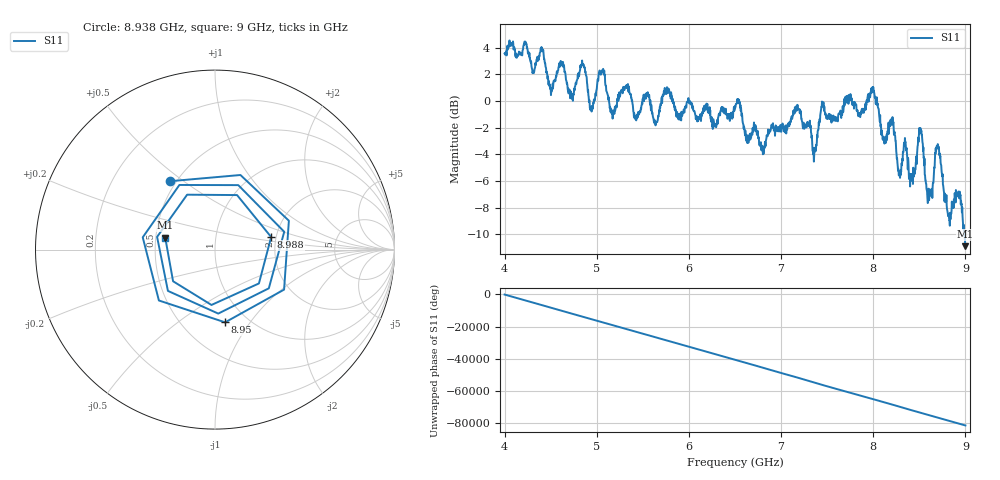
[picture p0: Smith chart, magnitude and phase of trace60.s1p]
! Created with skrf 1.8.0 (http://scikit-rf.org).
# Hz S RI R 50.0
!freq ReS11 ImS11
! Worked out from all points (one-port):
!   1601 points, 4 GHz to 9 GHz, reference 50 ohm
!   lowest |S11| = -10.9 dB at 9 GHz (marker M1), VSWR 1.80, Z = 28.1 + j4.04 ohm
!   |S11| at or under -10 dB: 8.989117 GHz to end of sweep
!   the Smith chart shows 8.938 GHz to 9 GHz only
!   S11 on the Smith chart (normalised r, x): 8.938 GHz: 0.46, +0.44; 8.95 GHz: 0.79, -0.77; 8.988 GHz: 1.88, +0.29; 9 GHz: 0.56, +0.08
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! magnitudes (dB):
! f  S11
! 4 GHz  3.6
! 4.406 GHz  4.0
! 4.5 GHz  1.0
! 4.625 GHz  2.7
! 4.728 GHz  0.4
! 4.853 GHz  2.7
! 4.941 GHz  -0.4
! 5.047 GHz  2.2
! 5.166 GHz  -1.0
! 5.25 GHz  0.6
! 5.875 GHz  -1.2
! 6.5 GHz  -0.6
! 6.797 GHz  -3.4
! 7.125 GHz  -1.1
! 7.362 GHz  -3.7
! 7.45 GHz  -0.1
! 7.75 GHz  0.4
! 7.997 GHz  0.7
! 8.112 GHz  -2.9
! 8.375 GHz  -5.1
! 8.512 GHz  -2.0
! 8.603 GHz  -7.0
! 8.697 GHz  -3.3
! 8.822 GHz  -8.7
! 8.938 GHz  -6.8
! 8.95 GHz  -7.8
! 8.988 GHz  -9.9
! 9 GHz  -10.9
